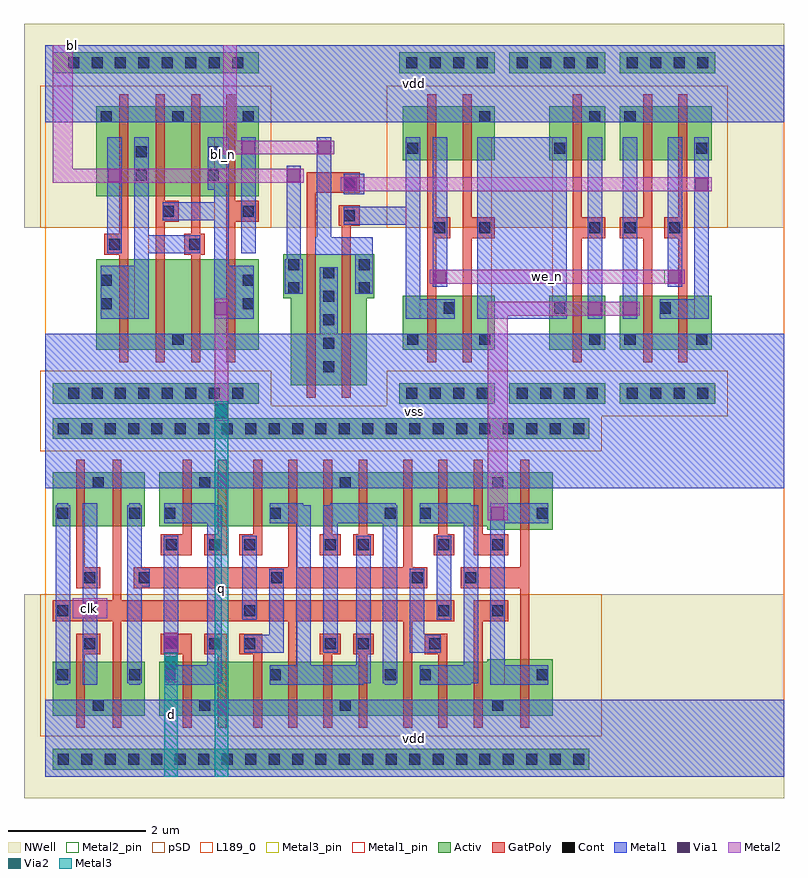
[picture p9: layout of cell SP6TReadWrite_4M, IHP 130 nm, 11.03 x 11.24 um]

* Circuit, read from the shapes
.subckt SP6TReadWrite_4M bl bl_n clk d q vdd vss we_n
XM1 vss clk n1 vss sg13_lv_nmos w=0.78u l=0.13u
XM2 n2 n1 vss vss sg13_lv_nmos w=0.78u l=0.13u
XM3 n3 bl nsnrlatch_x1_3/nq vss sg13_lv_nmos w=1.31u l=0.13u
XM4 vss q n3 vss sg13_lv_nmos w=1.31u l=0.13u
XM5 vss d n4 vss sg13_lv_nmos w=0.78u l=0.13u
XM6 n5 nsnrlatch_x1_3/nq vss vss sg13_lv_nmos w=1.31u l=0.13u
XM7 n6 n4 vss vss sg13_lv_nmos w=0.78u l=0.13u
XM8 q bl_n n5 vss sg13_lv_nmos w=1.31u l=0.13u
XM9 n7 n1 n6 vss sg13_lv_nmos w=0.78u l=0.13u
XM10 n8 n2 n7 vss sg13_lv_nmos w=0.78u l=0.13u
XM11 vss nor2_x0_2/nq bl vss sg13_lv_nmos w=1.9u l=0.13u
XM12 vss n9 n8 vss sg13_lv_nmos w=0.78u l=0.13u
XM13 bl_n nor2_x0_0/nq vss vss sg13_lv_nmos w=1.9u l=0.13u
XM14 n9 n7 vss vss sg13_lv_nmos w=0.78u l=0.13u
XM15 n10 n2 n9 vss sg13_lv_nmos w=0.78u l=0.13u
XM16 nor2_x0_0/nq we_n vss vss sg13_lv_nmos w=0.78u l=0.13u
XM17 n11 n1 n10 vss sg13_lv_nmos w=0.78u l=0.13u
XM18 vss nor2_x0_0/i0 nor2_x0_0/nq vss sg13_lv_nmos w=0.78u l=0.13u
XM19 vss inv_x0_1/i n11 vss sg13_lv_nmos w=0.78u l=0.13u
XM20 inv_x0_1/i n10 vss vss sg13_lv_nmos w=0.83u l=0.13u
XM21 vss inv_x0_1/i nor2_x0_0/i0 vss sg13_lv_nmos w=0.78u l=0.13u
XM22 nor2_x0_2/nq inv_x0_1/i vss vss sg13_lv_nmos w=0.78u l=0.13u
XM23 vss we_n nor2_x0_2/nq vss sg13_lv_nmos w=0.78u l=0.13u
XM24 vdd clk n1 vdd sg13_lv_pmos w=0.78u l=0.13u
XM25 n2 n1 vdd vdd sg13_lv_pmos w=0.78u l=0.13u
XM26 nsnrlatch_x1_3/nq bl vdd vdd sg13_lv_pmos w=1.3u l=0.13u
XM27 vdd q nsnrlatch_x1_3/nq vdd sg13_lv_pmos w=1.3u l=0.13u
XM28 vdd d n4 vdd sg13_lv_pmos w=0.78u l=0.13u
XM29 q nsnrlatch_x1_3/nq vdd vdd sg13_lv_pmos w=1.3u l=0.13u
XM30 n12 n4 vdd vdd sg13_lv_pmos w=0.78u l=0.13u
XM31 vdd bl_n q vdd sg13_lv_pmos w=1.3u l=0.13u
XM32 n7 n2 n12 vdd sg13_lv_pmos w=0.78u l=0.13u
XM33 n13 n1 n7 vdd sg13_lv_pmos w=0.78u l=0.13u
XM34 vdd n9 n13 vdd sg13_lv_pmos w=0.78u l=0.13u
XM35 n9 n7 vdd vdd sg13_lv_pmos w=0.78u l=0.13u
XM36 n10 n1 n9 vdd sg13_lv_pmos w=0.78u l=0.13u
XM37 n14 we_n nor2_x0_0/nq vdd sg13_lv_pmos w=0.78u l=0.13u
XM38 n15 n2 n10 vdd sg13_lv_pmos w=0.78u l=0.13u
XM39 vdd nor2_x0_0/i0 n14 vdd sg13_lv_pmos w=0.78u l=0.13u
XM40 vdd inv_x0_1/i n15 vdd sg13_lv_pmos w=0.78u l=0.13u
XM41 inv_x0_1/i n10 vdd vdd sg13_lv_pmos w=0.82u l=0.13u
XM42 vdd inv_x0_1/i nor2_x0_0/i0 vdd sg13_lv_pmos w=0.78u l=0.13u
XM43 n16 inv_x0_1/i vdd vdd sg13_lv_pmos w=0.78u l=0.13u
XM44 nor2_x0_2/nq we_n n16 vdd sg13_lv_pmos w=0.78u l=0.13u
.ends

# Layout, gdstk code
from math import pi, radians
import gdstk
lib = gdstk.Library(unit=1e-6, precision=1e-09)
def R(c, l, rs):  # rectangles x0, y0, x1, y1
    for r in rs: c.add(gdstk.rectangle(r[:2], r[2:], *l))
def A(c, l, x, y, w, h, nx, ny, dx, dy):  # array of equal rectangles
    R(c, l, [(x+i*dx, y+j*dy, x+i*dx+w, y+j*dy+h) for i in range(nx) for j in range(ny)])
def P(c, l, *ps):  # polygons
    for p in ps: c.add(gdstk.Polygon(p, *l))
Activ = (1, 0)
GatPoly = (5, 0)
Cont = (6, 0)
Metal1 = (8, 0)
Metal1_pin = (8, 2)
Metal2 = (10, 0)
Metal2_pin = (10, 2)
pSD = (14, 0)
Via1 = (19, 0)
Via2 = (29, 0)
Metal3 = (30, 0)
Metal3_pin = (30, 2)
NWell = (31, 0)
L189_0 = (189, 0)

nor2_x0 = lib.new_cell('nor2_x0')
R(nor2_x0, Activ, [(0.105,0.105,1.495,0.405), (0.105,0.89,1.445,1.67), (0.105,3.64,1.445,4.42), (0.105,4.905,1.495,5.205)])
P(nor2_x0, GatPoly, [(0.445,0.71),(0.445,2.51),(0.105,2.51),(0.105,2.81),(0.445,2.81),(0.445,4.6),(0.575,4.6),(0.575,0.71)],
  [(0.955,0.71),(0.955,2.51),(0.755,2.51),(0.755,2.81),(0.955,2.81),(0.955,4.6),(1.085,4.6),(1.085,0.71)])
A(nor2_x0, Cont, 0.21, 0.175, 0.16, 0.16, 4, 2, 0.34, 4.8)
R(nor2_x0, Cont, [(0.175,0.96,0.335,1.12), (1.215,0.96,1.375,1.12), (0.685,1.415,0.845,1.575), (0.175,2.58,0.335,2.74), (0.825,2.58,0.985,2.74), (1.215,3.735,1.375,3.895), (0.175,4.19,0.335,4.35)])
R(nor2_x0, Metal1, [(0,0,1.6,1.12), (0.15,1.34,0.36,3.97), (0.8,1.805,1.01,3.97), (0,4.19,1.6,5.31)])
P(nor2_x0, Metal1, [(0.685,1.34),(0.685,1.625),(1.19,1.625),(1.19,3.97),(1.4,3.97),(1.4,1.34)])
R(nor2_x0, Metal1_pin, [(0,0,1.6,1.12), (0.15,1.34,0.36,3.97), (1.19,1.34,1.4,3.97), (0.8,1.805,1.01,3.97), (0,4.19,1.6,5.31)])
R(nor2_x0, pSD, [(-0.075,-0.075,1.675,0.585), (-0.075,2.66,1.675,4.72)])
R(nor2_x0, NWell, [(-0.31,2.66,1.91,5.62)])
nor2_x0.add(gdstk.Label('vss', (0.8,0.56), layer=8, texttype=25))
nor2_x0.add(gdstk.Label('vdd', (0.8,4.75), layer=8, texttype=25))
nor2_x0.add(gdstk.Label('nq', (1.295,2.655), layer=8, texttype=25))
nor2_x0.add(gdstk.Label('i0', (0.255,2.655), layer=8, texttype=25))
nor2_x0.add(gdstk.Label('i1', (0.905,2.887), layer=8, texttype=25))

inv_x0 = lib.new_cell('inv_x0')
R(inv_x0, Activ, [(0.105,0.105,1.495,0.405), (0.105,0.89,0.915,1.67), (0.105,3.64,0.915,4.42), (0.105,4.905,1.495,5.205)])
P(inv_x0, GatPoly, [(0.445,0.71),(0.445,2.51),(0.105,2.51),(0.105,2.81),(0.445,2.81),(0.445,4.6),(0.575,4.6),(0.575,0.71)])
A(inv_x0, Cont, 0.21, 0.175, 0.16, 0.16, 4, 2, 0.34, 4.8)
R(inv_x0, Cont, [(0.175,0.96,0.335,1.12), (0.685,1.415,0.845,1.575), (0.175,2.58,0.335,2.74), (0.685,3.735,0.845,3.895), (0.175,4.19,0.335,4.35)])
R(inv_x0, Metal1, [(0,0,1.6,1.12), (0.15,1.34,0.36,3.97), (0.66,1.34,0.87,3.97), (0,4.19,1.6,5.31)])
R(inv_x0, Metal1_pin, [(0,0,1.6,1.12), (0.15,1.34,0.36,3.97), (0.66,1.34,0.87,3.97), (0,4.19,1.6,5.31)])
R(inv_x0, pSD, [(-0.075,-0.075,1.675,0.585), (-0.075,2.66,1.675,4.72)])
R(inv_x0, NWell, [(-0.31,2.66,1.91,5.62)])
inv_x0.add(gdstk.Label('vss', (0.8,0.56), layer=8, texttype=25))
inv_x0.add(gdstk.Label('vdd', (0.8,4.75), layer=8, texttype=25))
inv_x0.add(gdstk.Label('nq', (0.765,2.655), layer=8, texttype=25))
inv_x0.add(gdstk.Label('i', (0.255,2.655), layer=8, texttype=25))

nsnrlatch_x1 = lib.new_cell('nsnrlatch_x1')
R(nsnrlatch_x1, Activ, [(0.105,0.105,3.095,0.405), (0.105,0.89,2.465,2.2), (0.105,3.12,2.465,4.42), (0.105,4.905,3.095,5.205)])
R(nsnrlatch_x1, GatPoly, [(1.02,2.27,1.035,2.57), (2.06,2.27,2.195,2.57)])
P(nsnrlatch_x1, GatPoly, [(1.465,0.71),(1.465,2.75),(1.265,2.75),(1.265,3.05),(1.465,3.05),(1.465,4.6),(1.595,4.6),(1.595,0.71)],
  [(0.445,0.71),(0.445,2.75),(0.105,2.75),(0.105,3.05),(0.445,3.05),(0.445,4.6),(0.575,4.6),(0.575,0.71)],
  [(0.955,0.71),(0.955,2.27),(0.885,2.27),(0.885,2.57),(0.955,2.57),(0.955,4.6),(1.085,4.6),(1.085,2.57),(1.185,2.57),(1.185,2.27),(1.085,2.27),(1.085,0.71)],
  [(1.995,0.71),(1.995,4.6),(2.125,4.6),(2.125,2.57),(2.345,2.57),(2.345,2.27),(2.125,2.27),(2.125,0.71)])
A(nsnrlatch_x1, Cont, 0.33, 0.175, 0.16, 0.16, 8, 2, 0.34, 4.8)
R(nsnrlatch_x1, Cont, [(1.195,0.96,1.355,1.12), (0.175,1.475,0.335,1.635), (2.235,1.475,2.395,1.635), (0.175,1.815,0.335,1.975), (2.235,1.815,2.395,1.975), (0.955,2.34,1.115,2.5), (2.115,2.34,2.275,2.5), (0.175,2.82,0.335,2.98), (1.335,2.82,1.495,2.98), (0.685,3.34,0.845,3.5), (1.725,3.34,1.885,3.5), (0.685,3.68,0.845,3.84), (1.725,3.68,1.885,3.84), (0.175,4.19,0.335,4.35), (1.195,4.19,1.355,4.35), (2.235,4.19,2.395,4.35)])
R(nsnrlatch_x1, Metal1, [(0,0,3.2,1.12), (0.15,2.29,0.36,3.97), (2.09,2.29,2.3,3.97), (0,4.19,3.2,5.31)])
P(nsnrlatch_x1, Metal1, [(0.175,1.34),(0.175,2.11),(0.54,2.11),(0.54,3.97),(0.845,3.97),(0.845,3.21),(0.75,3.21),(0.75,3.03),(1.495,3.03),(1.495,2.77),(0.75,2.77),(0.75,1.34)],
  [(1.7,1.34),(1.7,2.29),(0.955,2.29),(0.955,2.55),(1.7,2.55),(1.7,3.97),(1.91,3.97),(1.91,2.11),(2.395,2.11),(2.395,1.34)])
R(nsnrlatch_x1, Metal1_pin, [(0,0,3.2,1.12), (0.54,1.34,0.75,3.97), (1.7,1.34,1.91,3.97), (0.15,2.29,0.36,3.97), (2.09,2.29,2.3,3.97), (0,4.19,3.2,5.31)])
R(nsnrlatch_x1, pSD, [(-0.075,-0.075,3.275,0.585), (-0.075,2.66,3.275,4.72)])
R(nsnrlatch_x1, NWell, [(-0.31,2.66,3.51,5.62)])
nsnrlatch_x1.add(gdstk.Label('q', (0.645,2.655), layer=8, texttype=25))
nsnrlatch_x1.add(gdstk.Label('vdd', (1.6,4.75), layer=8, texttype=25))
nsnrlatch_x1.add(gdstk.Label('vss', (1.6,0.56), layer=8, texttype=25))
nsnrlatch_x1.add(gdstk.Label('nset', (0.255,3.13), layer=8, texttype=25))
nsnrlatch_x1.add(gdstk.Label('nq', (1.805,2.655), layer=8, texttype=25))
nsnrlatch_x1.add(gdstk.Label('nrst', (2.195,3.13), layer=8, texttype=25))

dff_x1 = lib.new_cell('dff_x1')
R(dff_x1, Activ, [(0.105,0.105,7.895,0.405), (0.105,0.89,1.445,1.67), (0.105,3.64,1.445,4.42), (0.105,4.905,7.895,5.205)])
P(dff_x1, Activ, [(6.415,3.6),(6.415,3.64),(1.655,3.64),(1.655,4.42),(7.365,4.42),(7.365,3.6)],
  [(1.655,0.89),(1.655,1.67),(6.415,1.67),(6.415,1.72),(7.365,1.72),(7.365,0.89)])
P(dff_x1, GatPoly, [(4.035,0.71),(4.035,1.79),(3.985,1.79),(3.985,2.09),(4.285,2.09),(4.285,1.79),(4.165,1.79),(4.165,0.71)],
  [(6.215,2.75),(6.215,4.6),(6.345,4.6),(6.345,3.05),(6.715,3.05),(6.715,2.75)],
  [(4.545,0.71),(4.545,1.79),(4.465,1.79),(4.465,2.09),(4.765,2.09),(4.765,1.79),(4.675,1.79),(4.675,0.71)],
  [(6.215,0.71),(6.215,2.09),(6.715,2.09),(6.715,1.79),(6.345,1.79),(6.345,0.71)],
  [(6.895,0.71),(6.895,2.27),(6.025,2.27),(6.025,2.57),(6.895,2.57),(6.895,4.6),(7.025,4.6),(7.025,0.71)],
  [(5.705,0.71),(5.705,1.79),(5.635,1.79),(5.635,2.09),(5.935,2.09),(5.935,1.79),(5.835,1.79),(5.835,0.71)],
  [(2.505,0.71),(2.505,1.79),(2.305,1.79),(2.305,2.09),(2.635,2.09),(2.635,0.71)],
  [(3.015,0.71),(3.015,1.79),(2.815,1.79),(2.815,2.09),(3.145,2.09),(3.145,0.71)],
  [(0.975,0.71),(0.975,2.75),(0.105,2.75),(0.105,3.05),(0.975,3.05),(0.975,4.6),(1.105,4.6),(1.105,3.05),(3.525,3.05),(3.525,4.6),(3.655,4.6),(3.655,3.05),(5.195,3.05),(5.195,4.6),(5.325,4.6),(5.325,3.05),(5.935,3.05),(5.935,2.75),(1.105,2.75),(1.105,0.71)],
  [(1.995,0.71),(1.995,1.79),(1.675,1.79),(1.675,2.09),(2.125,2.09),(2.125,0.71)],
  [(2.305,3.23),(2.305,3.53),(2.505,3.53),(2.505,4.6),(2.635,4.6),(2.635,3.23)],
  [(2.815,3.23),(2.815,3.53),(3.015,3.53),(3.015,4.6),(3.145,4.6),(3.145,3.23)],
  [(5.505,3.23),(5.505,3.53),(5.705,3.53),(5.705,4.6),(5.835,4.6),(5.835,3.23)],
  [(0.445,0.71),(0.445,2.57),(0.795,2.57),(0.795,2.27),(0.575,2.27),(0.575,0.71)],
  [(3.525,0.71),(3.525,2.27),(1.285,2.27),(1.285,2.57),(5.545,2.57),(5.545,2.27),(5.325,2.27),(5.325,0.71),(5.195,0.71),(5.195,2.27),(3.655,2.27),(3.655,0.71)],
  [(3.985,3.23),(3.985,3.53),(4.035,3.53),(4.035,4.6),(4.165,4.6),(4.165,3.53),(4.285,3.53),(4.285,3.23)],
  [(0.445,3.23),(0.445,4.6),(0.575,4.6),(0.575,3.53),(0.795,3.53),(0.795,3.23)],
  [(1.675,3.23),(1.675,3.53),(1.995,3.53),(1.995,4.6),(2.125,4.6),(2.125,3.23)],
  [(4.465,3.23),(4.465,3.53),(4.545,3.53),(4.545,4.6),(4.675,4.6),(4.675,3.53),(4.765,3.53),(4.765,3.23)])
A(dff_x1, Cont, 0.18, 0.175, 0.16, 0.16, 23, 2, 0.34, 4.8)
R(dff_x1, Cont, [(0.685,0.96,0.845,1.12), (2.235,0.96,2.395,1.12), (4.275,0.96,4.435,1.12), (6.485,0.96,6.645,1.12), (0.175,1.405,0.335,1.565), (1.215,1.405,1.375,1.565), (1.725,1.405,1.885,1.565), (3.255,1.405,3.415,1.565), (4.925,1.405,5.085,1.565), (5.435,1.405,5.595,1.565), (7.135,1.405,7.295,1.565), (1.745,1.86,1.905,2.02), (2.375,1.86,2.535,2.02), (2.885,1.86,3.045,2.02), (4.055,1.86,4.215,2.02), (4.535,1.86,4.695,2.02), (5.705,1.86,5.865,2.02), (6.485,1.86,6.645,2.02), (0.565,2.34,0.725,2.5), (1.355,2.34,1.515,2.5), (3.275,2.34,3.435,2.5), (5.315,2.34,5.475,2.5), (6.095,2.34,6.255,2.5), (0.175,2.82,0.335,2.98), (2.885,2.82,3.045,2.98), (5.705,2.82,5.865,2.98), (6.485,2.82,6.645,2.98), (0.565,3.3,0.725,3.46), (1.745,3.3,1.905,3.46), (2.375,3.3,2.535,3.46), (2.885,3.3,3.045,3.46), (4.055,3.3,4.215,3.46), (4.535,3.3,4.695,3.46), (5.575,3.3,5.735,3.46), (0.175,3.75,0.335,3.91), (1.215,3.75,1.375,3.91), (1.725,3.75,1.885,3.91), (3.255,3.75,3.415,3.91), (4.925,3.75,5.085,3.91), (5.435,3.75,5.595,3.91), (7.135,3.75,7.295,3.91), (0.685,4.19,0.845,4.35), (2.235,4.19,2.395,4.35), (4.275,4.19,4.435,4.35), (6.485,4.19,6.645,4.35)])
R(dff_x1, Metal1, [(0,0,8,1.12), (0.54,1.34,0.75,3.97), (1.72,1.81,1.93,3.51), (2.86,1.81,3.07,3.03), (5.68,1.81,5.89,3.03), (0,4.19,8,5.31)])
P(dff_x1, Metal1, [(0.175,1.34),(0.175,1.37),(0.15,1.37),(0.15,3.95),(0.175,3.95),(0.175,3.97),(0.335,3.97),(0.335,3.95),(0.36,3.95),(0.36,1.37),(0.335,1.37),(0.335,1.34)],
  [(1.215,1.34),(1.215,1.37),(1.19,1.37),(1.19,3.95),(1.215,3.95),(1.215,3.97),(1.375,3.97),(1.375,3.95),(1.4,3.95),(1.4,2.55),(1.515,2.55),(1.515,2.29),(1.4,2.29),(1.4,1.37),(1.375,1.37),(1.375,1.34)],
  [(5.29,2.29),(5.29,3.51),(5.735,3.51),(5.735,3.25),(5.5,3.25),(5.5,2.29)],
  [(3.25,2.29),(3.25,3.25),(2.885,3.25),(2.885,3.51),(3.46,3.51),(3.46,2.29)],
  [(3.255,1.34),(3.255,1.63),(3.64,1.63),(3.64,3.69),(3.255,3.69),(3.255,3.97),(4.615,3.97),(4.615,3.95),(4.72,3.95),(4.72,1.81),(4.51,1.81),(4.51,3.69),(3.85,3.69),(3.85,1.37),(3.745,1.37),(3.745,1.34)],
  [(1.725,1.34),(1.725,1.63),(2.35,1.63),(2.35,3.69),(1.725,3.69),(1.725,3.97),(2.455,3.97),(2.455,3.95),(2.56,3.95),(2.56,1.37),(2.455,1.37),(2.455,1.34)],
  [(4.135,1.34),(4.135,1.37),(4.03,1.37),(4.03,3.51),(4.24,3.51),(4.24,1.63),(4.9,1.63),(4.9,3.95),(4.925,3.95),(4.925,3.97),(5.085,3.97),(5.085,3.95),(5.11,3.95),(5.11,1.37),(5.085,1.37),(5.085,1.34)],
  [(5.435,1.34),(5.435,1.63),(6.07,1.63),(6.07,3.69),(5.435,3.69),(5.435,3.97),(6.175,3.97),(6.175,3.95),(6.28,3.95),(6.28,1.37),(6.175,1.37),(6.175,1.34)],
  [(6.46,1.34),(6.46,3.97),(7.295,3.97),(7.295,3.69),(6.67,3.69),(6.67,1.63),(7.295,1.63),(7.295,1.34)])
R(dff_x1, Metal1_pin, [(0,0,8,1.12), (0.54,1.34,0.75,3.97), (6.46,1.34,6.67,3.97), (1.72,1.81,1.93,3.51), (0,4.19,8,5.31)])
R(dff_x1, pSD, [(-0.075,-0.075,8.075,0.585), (-0.075,2.66,8.075,4.72)])
R(dff_x1, NWell, [(-0.31,2.66,8.31,5.62)])
dff_x1.add(gdstk.Label('vdd', (4,4.75), layer=8, texttype=25))
dff_x1.add(gdstk.Label('vss', (4,0.56), layer=8, texttype=25))
dff_x1.add(gdstk.Label('clk', (0.645,2.655), layer=8, texttype=25))
dff_x1.add(gdstk.Label('i', (1.825,2.66), layer=8, texttype=25))
dff_x1.add(gdstk.Label('q', (6.565,2.655), layer=8, texttype=25))

sp6treadwrite_4m = lib.new_cell('SP6TReadWrite_4M')
P(sp6treadwrite_4m, Activ, [(3.565,5.685),(3.565,6.945),(3.455,6.945),(3.455,7.585),(4.775,7.585),(4.775,6.945),(4.665,6.945),(4.665,5.685)])
P(sp6treadwrite_4m, GatPoly, [(3.795,5.505),(3.795,8.775),(4.56,8.775),(4.56,8.475),(3.925,8.475),(3.925,5.505)],
  [(4.305,5.505),(4.305,7.995),(4.26,7.995),(4.26,8.295),(4.56,8.295),(4.56,7.995),(4.435,7.995),(4.435,5.505)])
A(sp6treadwrite_4m, Cont, 4.035, 5.875, 0.16, 0.16, 1, 5, 0, 0.34)
R(sp6treadwrite_4m, Cont, [(3.525,7.015,3.685,7.175), (4.545,7.015,4.705,7.175), (3.525,7.355,3.685,7.515), (4.545,7.355,4.705,7.515), (4.33,8.065,4.49,8.225), (4.33,8.545,4.49,8.705)])
R(sp6treadwrite_4m, Metal1, [(0,0,10.72,1.12), (1.72,1.8,1.93,2.09), (0.54,2.3,0.75,2.59), (6.46,3.68,6.67,3.97), (2.45,6.65,2.66,6.94), (6.375,6.65,7.57,9.28), (7.87,6.65,8.08,6.94), (8.38,6.65,8.59,6.94), (5.62,7.115,5.83,7.405), (9.03,7.115,9.24,7.405), (4.33,8.015,5.44,8.275), (4.33,8.455,4.63,8.755), (9.42,8.455,9.63,8.745), (0.9,8.58,1.11,8.87), (2.84,8.99,3.05,9.28), (0,9.5,10.72,10.62)])
P(sp6treadwrite_4m, Metal1, [(3.475,7.015),(3.475,7.515),(3.5,7.515),(3.5,8.87),(3.71,8.87),(3.71,7.515),(3.735,7.515),(3.735,7.015)],
  [(0,4.19),(0,6.43),(3.985,6.43),(3.985,7.395),(4.245,7.395),(4.245,6.43),(10.72,6.43),(10.72,4.19)],
  [(4.495,7.015),(4.495,7.575),(3.915,7.575),(3.915,7.835),(3.94,7.835),(3.94,9.28),(4.15,9.28),(4.15,7.835),(4.755,7.835),(4.755,7.015)])
R(sp6treadwrite_4m, Metal1_pin, [(0,0,10.72,1.12), (0,4.19,10.72,6.43), (0,9.5,10.72,10.62)])
R(sp6treadwrite_4m, Metal2, [(1.725,1.37,1.925,2.09), (0.395,2.3,0.895,2.59), (2.455,5.165,2.655,6.94), (5.58,7.16,9.28,7.36), (4.29,8.5,9.67,8.7)])
P(sp6treadwrite_4m, Metal2, [(0.105,8.625),(0.105,10.62),(0.395,10.62),(0.395,8.825),(3.75,8.825),(3.75,8.625)],
  [(2.58,9.035),(2.58,10.62),(2.78,10.62),(2.78,9.235),(4.19,9.235),(4.19,9.035)],
  [(6.42,3.725),(6.42,6.895),(8.63,6.895),(8.63,6.695),(6.71,6.695),(6.71,3.725)])
R(sp6treadwrite_4m, Metal2_pin, [(0.395,2.3,0.895,2.59), (5.58,7.16,8.99,7.36)])
P(sp6treadwrite_4m, Metal2_pin, [(0.105,8.625),(0.105,10.62),(0.395,10.62),(0.395,8.825),(3.75,8.825),(3.75,8.625)],
  [(2.58,9.035),(2.58,10.62),(2.78,10.62),(2.78,9.235),(4.19,9.235),(4.19,9.035)])
R(sp6treadwrite_4m, Via1, [(1.73,1.85,1.92,2.04), (0.55,2.35,0.74,2.54), (6.47,3.73,6.66,3.92), (2.46,6.7,2.65,6.89), (7.88,6.7,8.07,6.89), (8.39,6.7,8.58,6.89), (5.63,7.165,5.82,7.355), (9.04,7.165,9.23,7.355), (4.34,8.505,4.53,8.695), (9.43,8.505,9.62,8.695), (0.91,8.63,1.1,8.82), (3.51,8.63,3.7,8.82), (2.85,9.04,3.04,9.23), (3.95,9.04,4.14,9.23)])
R(sp6treadwrite_4m, Via2, [(1.73,1.56,1.92,1.75), (2.46,5.215,2.65,5.405)])
R(sp6treadwrite_4m, Metal3, [(1.725,0,1.925,1.8), (2.455,0,2.655,5.455)])
R(sp6treadwrite_4m, Metal3_pin, [(1.725,0,1.925,1.8), (2.455,0,2.655,5.455)])
R(sp6treadwrite_4m, NWell, [(-0.31,-0.31,10.72,2.65), (-0.31,7.97,10.72,10.93)])
R(sp6treadwrite_4m, L189_0, [(0,0,10.72,10.62)])
sp6treadwrite_4m.add(gdstk.Reference(nor2_x0, (6.63,5.31), rotation=pi, x_reflection=True))
sp6treadwrite_4m.add(gdstk.Reference(inv_x0, (8.23,5.31), rotation=pi, x_reflection=True))
sp6treadwrite_4m.add(gdstk.Reference(nor2_x0, (8.23,5.31)))
sp6treadwrite_4m.add(gdstk.Reference(nsnrlatch_x1, (3.2,5.31), rotation=pi, x_reflection=True))
sp6treadwrite_4m.add(gdstk.Reference(dff_x1, (0,5.31), x_reflection=True))
sp6treadwrite_4m.add(gdstk.Label('bl', (0.395,10.62), layer=10, texttype=25))
sp6treadwrite_4m.add(gdstk.Label('bl_n', (2.58,9.035), layer=10, texttype=25))
sp6treadwrite_4m.add(gdstk.Label('clk', (0.645,2.445), layer=10, texttype=25))
sp6treadwrite_4m.add(gdstk.Label('we_n', (7.285,7.26), layer=10, texttype=25))
sp6treadwrite_4m.add(gdstk.Label('q', (2.555,2.727), layer=30, texttype=25))
sp6treadwrite_4m.add(gdstk.Label('d', (1.825,0.9), layer=30, texttype=25))
sp6treadwrite_4m.add(gdstk.Label('vss', (5.36,5.31), layer=8, texttype=25))
sp6treadwrite_4m.add(gdstk.Label('vdd', (5.36,0.56), layer=8, texttype=25))
sp6treadwrite_4m.add(gdstk.Label('vdd', (5.36,10.06), layer=8, texttype=25))

lib.write_gds('SP6TReadWrite_4M.gds')
